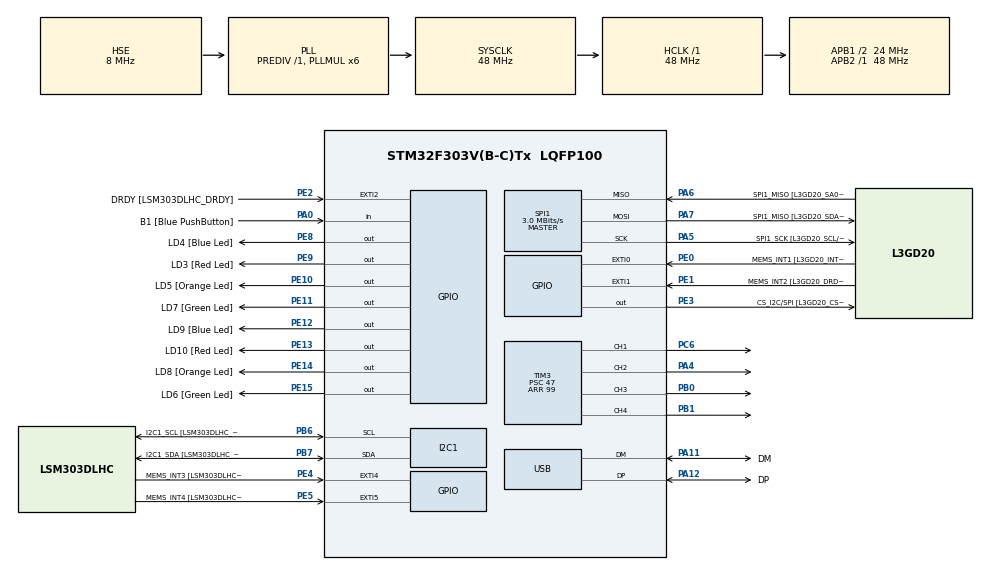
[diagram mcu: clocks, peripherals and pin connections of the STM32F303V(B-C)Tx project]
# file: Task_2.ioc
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I2C1.Timing=0x00201D2B
I2C1.Timing-I2C=0x2000090E
Mcu.Family=STM32F3
Mcu.Name=STM32F303V(B-C)Tx
Mcu.Package=LQFP100
NVIC.I2C1_ER_IRQn=true\:0\:0\:false\:false\:true\:true\:true\:true
NVIC.I2C1_EV_IRQn=true\:0\:0\:false\:false\:true\:true\:true\:true
NVIC.PriorityGroup=NVIC_PRIORITYGROUP_0
NVIC.SPI1_IRQn=true\:0\:0\:false\:false\:true\:true\:true\:true
NVIC.TIM3_IRQn=true\:0\:0\:false\:false\:true\:true\:true\:true
NVIC.TIM6_DAC_IRQn=true\:0\:0\:false\:false\:true\:true\:true\:true
PA0.GPIO_Label=B1 [Blue PushButton]
PA0.Signal=GPIO_Input
PA11.GPIO_Label=DM
PA11.Mode=Device
PA11.Signal=USB_DM
PA12.GPIO_Label=DP
PA12.Mode=Device
PA12.Signal=USB_DP
PA13.GPIO_Label=SWDIO
PA13.Mode=Serial_Wire
PA13.Signal=SYS_JTMS-SWDIO
PA14.GPIO_Label=SWCLK
PA14.Mode=Serial_Wire
PA14.Signal=SYS_JTCK-SWCLK
PA4.Signal=S_TIM3_CH2
PA5.GPIO_Label=SPI1_SCK [L3GD20_SCL/SPC]
PA5.Mode=Full_Duplex_Master
PA5.Signal=SPI1_SCK
PA6.GPIO_Label=SPI1_MISO [L3GD20_SA0/SDO]
PA6.Mode=Full_Duplex_Master
PA6.Signal=SPI1_MISO
PA7.GPIO_Label=SPI1_MISO [L3GD20_SDA/SDI/SDO]
PA7.Mode=Full_Duplex_Master
PA7.Signal=SPI1_MOSI
PB0.Signal=S_TIM3_CH3
PB1.Signal=S_TIM3_CH4
PB3.GPIO_Label=SWO
PB3.Signal=SYS_JTDO-TRACESWO
PB6.GPIO_Label=I2C1_SCL [LSM303DLHC_SCL]
PB6.GPIO_Pu=GPIO_PULLUP
PB6.Mode=I2C
PB6.Signal=I2C1_SCL
PB7.GPIO_Label=I2C1_SDA [LSM303DLHC_SDA]
PB7.GPIO_Pu=GPIO_PULLUP
PB7.Mode=I2C
PB7.Signal=I2C1_SDA
PC14-OSC32_IN.GPIO_Label=OSC32_IN
PC14-OSC32_IN.Signal=RCC_OSC32_IN
PC15-OSC32_OUT.GPIO_Label=OSC32_OUT
PC15-OSC32_OUT.Signal=RCC_OSC32_OUT
PC6.Signal=S_TIM3_CH1
PE0.GPIO_Label=MEMS_INT1 [L3GD20_INT1]
PE0.GPIO_ModeDefaultEXTI=GPIO_MODE_EVT_RISING
PE0.Signal=GPXTI0
PE1.GPIO_Label=MEMS_INT2 [L3GD20_DRDY/INT2]
PE1.GPIO_ModeDefaultEXTI=GPIO_MODE_EVT_RISING
PE1.Signal=GPXTI1
PE10.GPIO_Label=LD5 [Orange Led]
PE10.Signal=GPIO_Output
PE11.GPIO_Label=LD7 [Green Led]
PE11.Signal=GPIO_Output
PE12.GPIO_Label=LD9 [Blue Led]
PE12.Signal=GPIO_Output
PE13.GPIO_Label=LD10 [Red Led]
PE13.Signal=GPIO_Output
PE14.GPIO_Label=LD8 [Orange Led]
PE14.Signal=GPIO_Output
PE15.GPIO_Label=LD6 [Green Led]
PE15.Signal=GPIO_Output
PE2.GPIO_Label=DRDY [LSM303DLHC_DRDY]
PE2.GPIO_ModeDefaultEXTI=GPIO_MODE_EVT_RISING
PE2.Signal=GPXTI2
PE3.GPIO_Label=CS_I2C/SPI [L3GD20_CS_I2C/SPI]
PE3.Signal=GPIO_Output
PE4.GPIO_Label=MEMS_INT3 [LSM303DLHC_INT1]
PE4.GPIO_ModeDefaultEXTI=GPIO_MODE_EVT_RISING
PE4.Signal=GPXTI4
PE5.GPIO_Label=MEMS_INT4 [LSM303DLHC_INT2]
PE5.GPIO_ModeDefaultEXTI=GPIO_MODE_EVT_RISING
PE5.Signal=GPXTI5
PE8.GPIO_Label=LD4 [Blue Led]
PE8.Signal=GPIO_Output
PE9.GPIO_Label=LD3 [Red Led]
PE9.Signal=GPIO_Output
PF0-OSC_IN.GPIO_Label=OSC_IN
PF0-OSC_IN.Mode=HSE-External-Clock-Source
PF0-OSC_IN.Signal=RCC_OSC_IN
PF1-OSC_OUT.GPIO_Label=OSC_OUT
PF1-OSC_OUT.Signal=RCC_OSC_OUT
ProjectManager.HeapSize=0x200
ProjectManager.StackSize=0x400
ProjectManager.TargetToolchain=CMake
RCC.AHBFreq_Value=48000000
RCC.APB1CLKDivider=RCC_HCLK_DIV2
RCC.APB1Freq_Value=24000000
RCC.APB1TimFreq_Value=48000000
RCC.APB2Freq_Value=48000000
RCC.APB2TimFreq_Value=48000000
RCC.CortexFreq_Value=48000000
RCC.HCLKFreq_Value=48000000
RCC.HSE_VALUE=8000000
RCC.HSI_VALUE=8000000
RCC.LSE_VALUE=32768
RCC.PLLMUL=RCC_PLL_MUL6
RCC.SYSCLKFreq_VALUE=48000000
RCC.SYSCLKSourceVirtual=RCC_SYSCLKSOURCE_PLLCLK
RCC.USBFreq_Value=48000000
SH.S_TIM3_CH1.0=TIM3_CH1,PWM Generation1 CH1
SH.S_TIM3_CH2.0=TIM3_CH2,PWM Generation2 CH2
SH.S_TIM3_CH3.0=TIM3_CH3,PWM Generation3 CH3
SH.S_TIM3_CH4.0=TIM3_CH4,PWM Generation4 CH4
SPI1.BaudRatePrescaler=SPI_BAUDRATEPRESCALER_16
SPI1.BaudRatePrescaler-Full_Duplex_Master=SPI_BAUDRATEPRESCALER_2
SPI1.CalculateBaudRate=3.0 MBits/s
SPI1.CalculateBaudRate-Full_Duplex_Master=24.0 MBits/s
SPI1.DataSize=SPI_DATASIZE_8BIT
SPI1.Direction=SPI_DIRECTION_2LINES
SPI1.Mode=SPI_MODE_MASTER
SPI1.Mode-Full_Duplex_Master=SPI_MODE_MASTER
SPI1.VirtualType=VM_MASTER
TIM3.Channel-PWM\ Generation1\ CH1=TIM_CHANNEL_1
TIM3.Channel-PWM\ Generation2\ CH2=TIM_CHANNEL_2
TIM3.Channel-PWM\ Generation3\ CH3=TIM_CHANNEL_3
TIM3.Channel-PWM\ Generation4\ CH4=TIM_CHANNEL_4
TIM3.Period=99
TIM3.Prescaler=47
TIM6.Period=999
TIM6.Prescaler=239
VP_TIM3_VS_ClockSourceINT.Mode=Internal
VP_TIM6_VS_ClockSourceINT.Mode=Enable_Timer
board=STM32F3DISCOVERY

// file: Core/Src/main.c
/* USER CODE BEGIN Header */
/**
  ******************************************************************************
  * @file           : main.c
  * @brief          : Main program body
  ******************************************************************************
  * @attention
  *
  * Copyright (c) 2026 STMicroelectronics.
  * All rights reserved.
  *
  * This software is licensed under terms that can be found in the LICENSE file
  * in the root directory of this software component.
  * If no LICENSE file comes with this software, it is provided AS-IS.
  *
  ******************************************************************************
  */
/* USER CODE END Header */
#include "main.h"

/* USER CODE BEGIN Includes */
#include <stdint.h>
#include <math.h>

/* USER CODE END Includes */

I2C_HandleTypeDef hi2c1;

SPI_HandleTypeDef hspi1;

TIM_HandleTypeDef htim3;
TIM_HandleTypeDef htim6;

PCD_HandleTypeDef hpcd_USB_FS;

/* USER CODE BEGIN PV */

/* =========================
   Accelerometer Defines
   ========================= */
#define ACC_ADDR            (0x19 << 1)
#define CTRL_REG1_A         0x20
#define CTRL_REG4_A         0x23
#define OUT_X_L_A           0x28

/* =========================
   Gyroscope Defines
   ========================= */
#define GYRO_CS_PORT        GPIOE
#define GYRO_CS_PIN         GPIO_PIN_3
#define GYRO_READ_BIT       0x80
#define GYRO_MULTI_BIT      0x40
#define CTRL_REG1_G         0x20
#define CTRL_REG4_G         0x23
#define OUT_X_L_G           0x28

/* =========================
   Sensor Constants
   ========================= */
#define ACC_SENS            0.00098f
#define GYRO_SENS           0.00875f
#define RAD_TO_DEG          57.2957795f

#define DT_IMU              0.005f      /* 200 Hz */
#define DT_PID              0.01f       /* 100 Hz */

/* =========================
   PID Gains
   Start with P-only first if needed
   ========================= */
#define KP                  25.0f
#define KI                  0.10f
#define KD                  0.55f

/* =========================
   PWM / Motor Constants
   TIM3 ARR should be 99 for 10 kHz PWM
   so CCR range is 0..99
   ========================= */
#define PWM_ARR             99U
#define PWM_MAX             99U
#define PWM_MIN             0U

/* Deadband on angle and output */
#define ANGLE_DEADBAND_DEG  1.0f
#define OUTPUT_DEADBAND     8.0f

/* Safety tilt cutoff */
#define MAX_SAFE_ANGLE      35.0f

/* =========================
   Data Structures
   ========================= */
typedef struct
{
    int16_t x_raw;
    int16_t y_raw;
    int16_t z_raw;
    float x_g;
    float y_g;
    float z_g;
} AccelData;

typedef struct
{
    int16_t x_raw;
    int16_t y_raw;
    int16_t z_raw;
    float x_dps;
    float y_dps;
    float z_dps;
} GyroData;

typedef struct
{
    float kp;
    float ki;
    float kd;
    float setpoint;
    float error;
    float prev_error;
    float integral;
    float derivative;
    float output;
} PIDController;

/* =========================
   Globals
   ========================= */
AccelData acc;
GyroData gyro;
PIDController pid;

volatile uint8_t sample_ready = 0;

float acc_offset = 0.0f;
float acc_angle = 0.0f;
float gyro_rate = 0.0f;
float angle = 0.0f;

/* run PID every 2 IMU samples -> 100 Hz */
static uint8_t pid_divider = 0;

/* extern handles from CubeMX-generated files */
extern I2C_HandleTypeDef hi2c1;
extern SPI_HandleTypeDef hspi1;
extern TIM_HandleTypeDef htim3;
extern TIM_HandleTypeDef htim6;

/* USER CODE END PV */

void SystemClock_Config(void);
static void MX_GPIO_Init(void);
static void MX_I2C1_Init(void);
static void MX_SPI1_Init(void);
static void MX_TIM3_Init(void);
static void MX_TIM6_Init(void);
static void MX_USB_PCD_Init(void);

/* USER CODE BEGIN 0 */
/* =========================
   Accelerometer Functions
   ========================= */
void accel_init(void)
{
    uint8_t data;

    data = 0x57;    /* ODR=100Hz, all axes enabled */
    HAL_I2C_Mem_Write(&hi2c1, ACC_ADDR, CTRL_REG1_A, I2C_MEMADD_SIZE_8BIT, &data, 1, HAL_MAX_DELAY);

    data = 0x88;    /* Full scale ±16g */
    HAL_I2C_Mem_Write(&hi2c1, ACC_ADDR, CTRL_REG4_A, I2C_MEMADD_SIZE_8BIT, &data, 1, HAL_MAX_DELAY);
}

void accel_read_raw(void)
{
    uint8_t buf[6];

    HAL_I2C_Mem_Read(&hi2c1, ACC_ADDR, OUT_X_L_A | 0x80, I2C_MEMADD_SIZE_8BIT, buf, 6, HAL_MAX_DELAY);

    acc.x_raw = (int16_t)((buf[1] << 8) | buf[0]);
    acc.y_raw = (int16_t)((buf[3] << 8) | buf[2]);
    acc.z_raw = (int16_t)((buf[5] << 8) | buf[4]);

    acc.x_raw >>= 4;
    acc.y_raw >>= 4;
    acc.z_raw >>= 4;
}

void accel_convert(void)
{
    acc.x_g = acc.x_raw * ACC_SENS;
    acc.y_g = acc.y_raw * ACC_SENS;
    acc.z_g = acc.z_raw * ACC_SENS;
}

/* =========================
   Gyroscope Functions
   ========================= */
void gyro_write_register(uint8_t reg_addr, uint8_t value)
{
    uint8_t tx[2];

    tx[0] = reg_addr;
    tx[1] = value;

    HAL_GPIO_WritePin(GYRO_CS_PORT, GYRO_CS_PIN, GPIO_PIN_RESET);
    HAL_SPI_Transmit(&hspi1, tx, 2, HAL_MAX_DELAY);
    HAL_GPIO_WritePin(GYRO_CS_PORT, GYRO_CS_PIN, GPIO_PIN_SET);
}

void gyro_init(void)
{
    HAL_GPIO_WritePin(GYRO_CS_PORT, GYRO_CS_PIN, GPIO_PIN_SET);
    HAL_Delay(100);

    gyro_write_register(CTRL_REG1_G, 0x0F);   /* power on, all axes enabled */
    gyro_write_register(CTRL_REG4_G, 0x80);   /* BDU=1, 245 dps */
}

void gyro_read_raw(void)
{
    uint8_t tx[7];
    uint8_t rx[7];

    tx[0] = GYRO_READ_BIT | GYRO_MULTI_BIT | OUT_X_L_G;
    for (int i = 1; i < 7; i++)
    {
        tx[i] = 0x00;
    }

    HAL_GPIO_WritePin(GYRO_CS_PORT, GYRO_CS_PIN, GPIO_PIN_RESET);
    HAL_SPI_TransmitReceive(&hspi1, tx, rx, 7, HAL_MAX_DELAY);
    HAL_GPIO_WritePin(GYRO_CS_PORT, GYRO_CS_PIN, GPIO_PIN_SET);

    gyro.x_raw = (int16_t)((rx[2] << 8) | rx[1]);
    gyro.y_raw = (int16_t)((rx[4] << 8) | rx[3]);
    gyro.z_raw = (int16_t)((rx[6] << 8) | rx[5]);
}

void gyro_convert(void)
{
    gyro.x_dps = gyro.x_raw * GYRO_SENS;
    gyro.y_dps = gyro.y_raw * GYRO_SENS;
    gyro.z_dps = gyro.z_raw * GYRO_SENS;
}

/* =========================
   IMU Processing
   Same structure as Task 1
   ========================= */
void imu_process(void)
{
    accel_read_raw();
    accel_convert();

    gyro_read_raw();
    gyro_convert();

    acc_angle = atan2f(acc.y_g, acc.z_g) * RAD_TO_DEG - acc_offset;
    gyro_rate = gyro.y_dps;

    angle = 0.98f * (angle + gyro_rate * DT_IMU) + 0.02f * acc_angle;
}

/* =========================
   PID
   ========================= */
void pid_init(PIDController *p, float kp, float ki, float kd, float setpoint)
{
    p->kp = kp;
    p->ki = ki;
    p->kd = kd;
    p->setpoint = setpoint;
    p->error = 0.0f;
    p->prev_error = 0.0f;
    p->integral = 0.0f;
    p->derivative = 0.0f;
    p->output = 0.0f;
}

void pid_compute(PIDController *p, float measured_value)
{
    p->error = p->setpoint - measured_value;

    if (fabsf(p->error) < ANGLE_DEADBAND_DEG)
    {
        p->error = 0.0f;
    }

    p->integral += p->error * DT_PID;

    /* anti-windup */
    if (p->integral > 50.0f)  p->integral = 50.0f;
    if (p->integral < -50.0f) p->integral = -50.0f;

    p->derivative = (p->error - p->prev_error) / DT_PID;

    p->output = (p->kp * p->error) +
                (p->ki * p->integral) +
                (p->kd * p->derivative);

    p->prev_error = p->error;
}

/* =========================
   PWM Helpers
   IMPORTANT:
   Each motor uses two PWM inputs:
   Right motor: CH1, CH2
   Left motor : CH3, CH4

   Forward:
     one channel PWM, opposite channel 0
   Backward:
     opposite channel PWM, first channel 0
   Stop:
     all 0

   This matches the lab’s 4-input H-bridge approach. :contentReference[oaicite:3]{index=3} :contentReference[oaicite:4]{index=4}
   ========================= */
static uint16_t output_to_pwm(float u)
{
    float mag = fabsf(u);

    /* clamp control output into 0..100 control range */
    if (mag > 100.0f)
    {
        mag = 100.0f;
    }

    return (uint16_t)((mag / 100.0f) * PWM_MAX);
}

static void motors_stop(void)
{
    __HAL_TIM_SET_COMPARE(&htim3, TIM_CHANNEL_1, 0);
    __HAL_TIM_SET_COMPARE(&htim3, TIM_CHANNEL_2, 0);
    __HAL_TIM_SET_COMPARE(&htim3, TIM_CHANNEL_3, 0);
    __HAL_TIM_SET_COMPARE(&htim3, TIM_CHANNEL_4, 0);
}

static void motors_forward(uint16_t pwm)
{
    __HAL_TIM_SET_COMPARE(&htim3, TIM_CHANNEL_1, pwm);  /* PC6  */
    __HAL_TIM_SET_COMPARE(&htim3, TIM_CHANNEL_2, 0);    /* PA4  */
    __HAL_TIM_SET_COMPARE(&htim3, TIM_CHANNEL_3, pwm);  /* PB0  */
    __HAL_TIM_SET_COMPARE(&htim3, TIM_CHANNEL_4, 0);    /* PB1  */
}

static void motors_backward(uint16_t pwm)
{
    __HAL_TIM_SET_COMPARE(&htim3, TIM_CHANNEL_1, 0);    /* PC6  */
    __HAL_TIM_SET_COMPARE(&htim3, TIM_CHANNEL_2, pwm);  /* PA4  */
    __HAL_TIM_SET_COMPARE(&htim3, TIM_CHANNEL_3, 0);    /* PB0  */
    __HAL_TIM_SET_COMPARE(&htim3, TIM_CHANNEL_4, pwm);  /* PB1  */
}

void motor_control(float control_output)
{
    uint16_t pwm;

    /* safety cutoff */
    if (fabsf(angle) > MAX_SAFE_ANGLE)
    {
        motors_stop();
        return;
    }

    if (fabsf(control_output) < OUTPUT_DEADBAND)
    {
        motors_stop();
        return;
    }

    pwm = output_to_pwm(control_output);

    if (control_output > 0.0f)
    {
        motors_forward(pwm);
    }
    else
    {
        motors_backward(pwm);
    }
}

/* =========================
   Timer Callback
   TIM6 @ 200 Hz
   ========================= */
void HAL_TIM_PeriodElapsedCallback(TIM_HandleTypeDef *htim)
{
    static uint16_t count = 0;

    if (htim->Instance == TIM6)
    {
        count++;

        if (count < 200)   /* about 1 second */
        {
            __HAL_TIM_SET_COMPARE(&htim3, TIM_CHANNEL_1, 70);
            __HAL_TIM_SET_COMPARE(&htim3, TIM_CHANNEL_2, 0);
            __HAL_TIM_SET_COMPARE(&htim3, TIM_CHANNEL_3, 70);
            __HAL_TIM_SET_COMPARE(&htim3, TIM_CHANNEL_4, 0);
        }
        else if (count < 400)   /* next 1 second */
        {
            __HAL_TIM_SET_COMPARE(&htim3, TIM_CHANNEL_1, 0);
            __HAL_TIM_SET_COMPARE(&htim3, TIM_CHANNEL_2, 70);
            __HAL_TIM_SET_COMPARE(&htim3, TIM_CHANNEL_3, 0);
            __HAL_TIM_SET_COMPARE(&htim3, TIM_CHANNEL_4, 70);
        }
        else
        {
            __HAL_TIM_SET_COMPARE(&htim3, TIM_CHANNEL_1, 0);
            __HAL_TIM_SET_COMPARE(&htim3, TIM_CHANNEL_2, 0);
            __HAL_TIM_SET_COMPARE(&htim3, TIM_CHANNEL_3, 0);
            __HAL_TIM_SET_COMPARE(&htim3, TIM_CHANNEL_4, 0);
            count = 0;
        }
    }
}

/* USER CODE END 0 */

int main(void)
{

  /* MCU Configuration--------------------------------------------------------*/

  /* Reset of all peripherals, Initializes the Flash interface and the Systick. */
  HAL_Init();

  /* Configure the system clock */
  SystemClock_Config();

  /* Initialize all configured peripherals */
  MX_GPIO_Init();
  MX_I2C1_Init();
  MX_SPI1_Init();
  MX_TIM3_Init();
  MX_TIM6_Init();
  MX_USB_PCD_Init();
  /* USER CODE BEGIN 2 */
    HAL_Delay(100);

    accel_init();
    gyro_init();

    /* accelerometer startup offset calibration */
    accel_read_raw();
    accel_convert();
    acc_offset = atan2f(acc.y_g, acc.z_g) * RAD_TO_DEG;

    angle = 0.0f;
    acc_angle = 0.0f;
    gyro_rate = 0.0f;

    pid_init(&pid, KP, KI, KD, 0.0f);

    /* start all PWM channels */
    HAL_TIM_PWM_Start(&htim3, TIM_CHANNEL_1);
    HAL_TIM_PWM_Start(&htim3, TIM_CHANNEL_2);
    HAL_TIM_PWM_Start(&htim3, TIM_CHANNEL_3);
    HAL_TIM_PWM_Start(&htim3, TIM_CHANNEL_4);

    motors_stop();

    HAL_TIM_Base_Start_IT(&htim6);

  /* USER CODE END 2 */

  /* Infinite loop */
  /* USER CODE BEGIN WHILE */
  while (1)
  {
    //  if (sample_ready)
    //     {
    //         sample_ready = 0;

    //         /* IMU update at 200 Hz */
    //         imu_process();

    //         /* PID update at 100 Hz */
    //         pid_divider++;
    //         if (pid_divider >= 2)
    //         {
    //             pid_divider = 0;

    //             pid_compute(&pid, angle);
    //             motor_control(pid.output);
    //         }
    //     }

    /* USER CODE END WHILE */

}}

void SystemClock_Config(void)
{
  RCC_OscInitTypeDef RCC_OscInitStruct = {0};
  RCC_ClkInitTypeDef RCC_ClkInitStruct = {0};
  RCC_PeriphCLKInitTypeDef PeriphClkInit = {0};

  /** Initializes the RCC Oscillators according to the specified parameters
  * in the RCC_OscInitTypeDef structure.
  */
  RCC_OscInitStruct.OscillatorType = RCC_OSCILLATORTYPE_HSI|RCC_OSCILLATORTYPE_HSE;
  RCC_OscInitStruct.HSEState = RCC_HSE_BYPASS;
  RCC_OscInitStruct.HSEPredivValue = RCC_HSE_PREDIV_DIV1;
  RCC_OscInitStruct.HSIState = RCC_HSI_ON;
  RCC_OscInitStruct.HSICalibrationValue = RCC_HSICALIBRATION_DEFAULT;
  RCC_OscInitStruct.PLL.PLLState = RCC_PLL_ON;
  RCC_OscInitStruct.PLL.PLLSource = RCC_PLLSOURCE_HSE;
  RCC_OscInitStruct.PLL.PLLMUL = RCC_PLL_MUL6;
  if (HAL_RCC_OscConfig(&RCC_OscInitStruct) != HAL_OK)
  {
    Error_Handler();
  }

  /** Initializes the CPU, AHB and APB buses clocks
  */
  RCC_ClkInitStruct.ClockType = RCC_CLOCKTYPE_HCLK|RCC_CLOCKTYPE_SYSCLK
                              |RCC_CLOCKTYPE_PCLK1|RCC_CLOCKTYPE_PCLK2;
  RCC_ClkInitStruct.SYSCLKSource = RCC_SYSCLKSOURCE_PLLCLK;
  RCC_ClkInitStruct.AHBCLKDivider = RCC_SYSCLK_DIV1;
  RCC_ClkInitStruct.APB1CLKDivider = RCC_HCLK_DIV2;
  RCC_ClkInitStruct.APB2CLKDivider = RCC_HCLK_DIV1;

  if (HAL_RCC_ClockConfig(&RCC_ClkInitStruct, FLASH_LATENCY_1) != HAL_OK)
  {
    Error_Handler();
  }
  PeriphClkInit.PeriphClockSelection = RCC_PERIPHCLK_USB|RCC_PERIPHCLK_I2C1;
  PeriphClkInit.I2c1ClockSelection = RCC_I2C1CLKSOURCE_HSI;
  PeriphClkInit.USBClockSelection = RCC_USBCLKSOURCE_PLL;
  if (HAL_RCCEx_PeriphCLKConfig(&PeriphClkInit) != HAL_OK)
  {
    Error_Handler();
  }
}

static void MX_I2C1_Init(void)
{

  hi2c1.Instance = I2C1;
  hi2c1.Init.Timing = 0x00201D2B;
  hi2c1.Init.OwnAddress1 = 0;
  hi2c1.Init.AddressingMode = I2C_ADDRESSINGMODE_7BIT;
  hi2c1.Init.DualAddressMode = I2C_DUALADDRESS_DISABLE;
  hi2c1.Init.OwnAddress2 = 0;
  hi2c1.Init.OwnAddress2Masks = I2C_OA2_NOMASK;
  hi2c1.Init.GeneralCallMode = I2C_GENERALCALL_DISABLE;
  hi2c1.Init.NoStretchMode = I2C_NOSTRETCH_DISABLE;
  if (HAL_I2C_Init(&hi2c1) != HAL_OK)
  {
    Error_Handler();
  }

  /** Configure Analogue filter
  */
  if (HAL_I2CEx_ConfigAnalogFilter(&hi2c1, I2C_ANALOGFILTER_ENABLE) != HAL_OK)
  {
    Error_Handler();
  }

  /** Configure Digital filter
  */
  if (HAL_I2CEx_ConfigDigitalFilter(&hi2c1, 0) != HAL_OK)
  {
    Error_Handler();
  }

}

static void MX_SPI1_Init(void)
{

  /* SPI1 parameter configuration*/
  hspi1.Instance = SPI1;
  hspi1.Init.Mode = SPI_MODE_MASTER;
  hspi1.Init.Direction = SPI_DIRECTION_2LINES;
  hspi1.Init.DataSize = SPI_DATASIZE_8BIT;
  hspi1.Init.CLKPolarity = SPI_POLARITY_LOW;
  hspi1.Init.CLKPhase = SPI_PHASE_1EDGE;
  hspi1.Init.NSS = SPI_NSS_SOFT;
  hspi1.Init.BaudRatePrescaler = SPI_BAUDRATEPRESCALER_16;
  hspi1.Init.FirstBit = SPI_FIRSTBIT_MSB;
  hspi1.Init.TIMode = SPI_TIMODE_DISABLE;
  hspi1.Init.CRCCalculation = SPI_CRCCALCULATION_DISABLE;
  hspi1.Init.CRCPolynomial = 7;
  hspi1.Init.CRCLength = SPI_CRC_LENGTH_DATASIZE;
  hspi1.Init.NSSPMode = SPI_NSS_PULSE_ENABLE;
  if (HAL_SPI_Init(&hspi1) != HAL_OK)
  {
    Error_Handler();
  }

}

static void MX_TIM3_Init(void)
{

  TIM_ClockConfigTypeDef sClockSourceConfig = {0};
  TIM_MasterConfigTypeDef sMasterConfig = {0};
  TIM_OC_InitTypeDef sConfigOC = {0};

  htim3.Instance = TIM3;
  htim3.Init.Prescaler = 47;
  htim3.Init.CounterMode = TIM_COUNTERMODE_UP;
  htim3.Init.Period = 99;
  htim3.Init.ClockDivision = TIM_CLOCKDIVISION_DIV1;
  htim3.Init.AutoReloadPreload = TIM_AUTORELOAD_PRELOAD_DISABLE;
  if (HAL_TIM_Base_Init(&htim3) != HAL_OK)
  {
    Error_Handler();
  }
  sClockSourceConfig.ClockSource = TIM_CLOCKSOURCE_INTERNAL;
  if (HAL_TIM_ConfigClockSource(&htim3, &sClockSourceConfig) != HAL_OK)
  {
    Error_Handler();
  }
  if (HAL_TIM_PWM_Init(&htim3) != HAL_OK)
  {
    Error_Handler();
  }
  sMasterConfig.MasterOutputTrigger = TIM_TRGO_RESET;
  sMasterConfig.MasterSlaveMode = TIM_MASTERSLAVEMODE_DISABLE;
  if (HAL_TIMEx_MasterConfigSynchronization(&htim3, &sMasterConfig) != HAL_OK)
  {
    Error_Handler();
  }
  sConfigOC.OCMode = TIM_OCMODE_PWM1;
  sConfigOC.Pulse = 0;
  sConfigOC.OCPolarity = TIM_OCPOLARITY_HIGH;
  sConfigOC.OCFastMode = TIM_OCFAST_DISABLE;
  if (HAL_TIM_PWM_ConfigChannel(&htim3, &sConfigOC, TIM_CHANNEL_1) != HAL_OK)
  {
    Error_Handler();
  }
  if (HAL_TIM_PWM_ConfigChannel(&htim3, &sConfigOC, TIM_CHANNEL_2) != HAL_OK)
  {
    Error_Handler();
  }
  if (HAL_TIM_PWM_ConfigChannel(&htim3, &sConfigOC, TIM_CHANNEL_3) != HAL_OK)
  {
    Error_Handler();
  }
  if (HAL_TIM_PWM_ConfigChannel(&htim3, &sConfigOC, TIM_CHANNEL_4) != HAL_OK)
  {
    Error_Handler();
  }
  HAL_TIM_MspPostInit(&htim3);

}

static void MX_TIM6_Init(void)
{

  TIM_MasterConfigTypeDef sMasterConfig = {0};

  htim6.Instance = TIM6;
  htim6.Init.Prescaler = 239;
  htim6.Init.CounterMode = TIM_COUNTERMODE_UP;
  htim6.Init.Period = 999;
  htim6.Init.AutoReloadPreload = TIM_AUTORELOAD_PRELOAD_DISABLE;
  if (HAL_TIM_Base_Init(&htim6) != HAL_OK)
  {
    Error_Handler();
  }
  sMasterConfig.MasterOutputTrigger = TIM_TRGO_RESET;
  sMasterConfig.MasterSlaveMode = TIM_MASTERSLAVEMODE_DISABLE;
  if (HAL_TIMEx_MasterConfigSynchronization(&htim6, &sMasterConfig) != HAL_OK)
  {
    Error_Handler();
  }

}

static void MX_USB_PCD_Init(void)
{

  hpcd_USB_FS.Instance = USB;
  hpcd_USB_FS.Init.dev_endpoints = 8;
  hpcd_USB_FS.Init.speed = PCD_SPEED_FULL;
  hpcd_USB_FS.Init.phy_itface = PCD_PHY_EMBEDDED;
  hpcd_USB_FS.Init.low_power_enable = DISABLE;
  hpcd_USB_FS.Init.battery_charging_enable = DISABLE;
  if (HAL_PCD_Init(&hpcd_USB_FS) != HAL_OK)
  {
    Error_Handler();
  }

}

static void MX_GPIO_Init(void)
{
  GPIO_InitTypeDef GPIO_InitStruct = {0};

  /* GPIO Ports Clock Enable */
  __HAL_RCC_GPIOE_CLK_ENABLE();
  __HAL_RCC_GPIOC_CLK_ENABLE();
  __HAL_RCC_GPIOF_CLK_ENABLE();
  __HAL_RCC_GPIOA_CLK_ENABLE();
  __HAL_RCC_GPIOB_CLK_ENABLE();

  /*Configure GPIO pin Output Level */
  HAL_GPIO_WritePin(GPIOE, CS_I2C_SPI_Pin|LD4_Pin|LD3_Pin|LD5_Pin
                          |LD7_Pin|LD9_Pin|LD10_Pin|LD8_Pin
                          |LD6_Pin, GPIO_PIN_RESET);

  /*Configure GPIO pins : DRDY_Pin MEMS_INT3_Pin MEMS_INT4_Pin MEMS_INT1_Pin
                           MEMS_INT2_Pin */
  GPIO_InitStruct.Pin = DRDY_Pin|MEMS_INT3_Pin|MEMS_INT4_Pin|MEMS_INT1_Pin
                          |MEMS_INT2_Pin;
  GPIO_InitStruct.Mode = GPIO_MODE_EVT_RISING;
  GPIO_InitStruct.Pull = GPIO_NOPULL;
  HAL_GPIO_Init(GPIOE, &GPIO_InitStruct);

  /*Configure GPIO pins : CS_I2C_SPI_Pin LD4_Pin LD3_Pin LD5_Pin
                           LD7_Pin LD9_Pin LD10_Pin LD8_Pin
                           LD6_Pin */
  GPIO_InitStruct.Pin = CS_I2C_SPI_Pin|LD4_Pin|LD3_Pin|LD5_Pin
                          |LD7_Pin|LD9_Pin|LD10_Pin|LD8_Pin
                          |LD6_Pin;
  GPIO_InitStruct.Mode = GPIO_MODE_OUTPUT_PP;
  GPIO_InitStruct.Pull = GPIO_NOPULL;
  GPIO_InitStruct.Speed = GPIO_SPEED_FREQ_LOW;
  HAL_GPIO_Init(GPIOE, &GPIO_InitStruct);

  /*Configure GPIO pin : B1_Pin */
  GPIO_InitStruct.Pin = B1_Pin;
  GPIO_InitStruct.Mode = GPIO_MODE_INPUT;
  GPIO_InitStruct.Pull = GPIO_NOPULL;
  HAL_GPIO_Init(B1_GPIO_Port, &GPIO_InitStruct);

}

void Error_Handler(void)
{
  __disable_irq();
  while (1)
  {
  }
}
